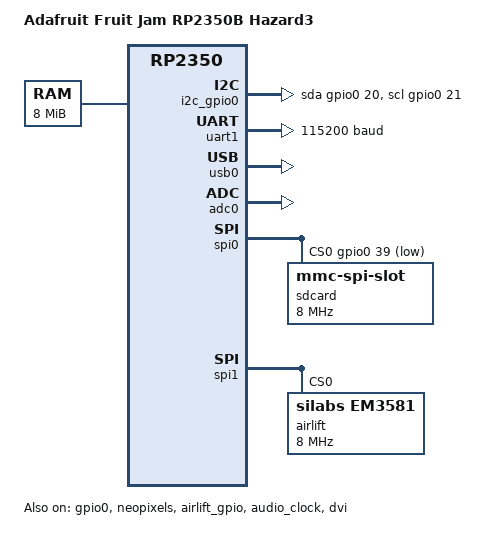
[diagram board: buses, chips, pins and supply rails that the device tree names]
/dts-v1/;

/ {
	#address-cells = <1>;
	#size-cells = <1>;
	compatible = "adafruit,fruit-jam-rp2350", "raspberrypi,rp2350", "riscv-minimal-nommu";
	model = "Adafruit Fruit Jam RP2350B Hazard3";

	aliases {
		serial0 = &uart1;
		i2c0 = &i2c_gpio0;
		spi0 = &spi1; /* Preserve AirLift as /dev/spidev0.0. */
		spi1 = &spi0;
	};

	chosen {
		stdout-path = "serial0:115200n8";
		bootargs = "earlycon=pl011,mmio32,0x40078000 console=ttyAMA0 console=ttyGS0 root=mtd:cramfs rootfstype=cramfs ro";
	};

	clk_sys: clk-sys {
		compatible = "fixed-clock";
		#clock-cells = <0>;
		clock-frequency = <150000000>;
	};

	flash@10000000 {
		compatible = "phram"; /* XIP flash mapped into physical address space */
		reg = <0x10000000 0x1000000>; /* 16 MiB QSPI flash */

		partitions {
			#address-cells = <1>;
			#size-cells = <1>;
			compatible = "fixed-partitions";

			partition@600000 {
				label = "cramfs";
				reg = <0x600000 0xa00000>; /* rootfs.cramfs at 6 MiB, up to end of 16 MiB flash */
				read-only;
			};
		};
	};

	fruitjam_pins: fruitjam-pins {
		compatible = "adafruit,fruit-jam-rp2350-pinmap";
		adafruit,button-gpios = <0 4 5>;
		adafruit,red-led-gpio = <29>;
		adafruit,neopixel-gpio = <32>;
		adafruit,usb-host-gpios = <1 2 11>;
		adafruit,peripheral-reset-gpio = <22>;
		adafruit,i2c-gpios = <20 21>;
		adafruit,i2s-gpios = <24 25 26 27 23>;
		adafruit,dvi-gpios = <12 13 14 15 16 17 18 19>;
		adafruit,sd-spi-gpios = <34 35 36 39 33>;
	};

	i2c_gpio0: i2c-gpio0 {
		compatible = "i2c-gpio";
		sda-gpios = <&gpio0 20 6>; /* active-high open-drain */
		scl-gpios = <&gpio0 21 6>; /* active-high open-drain */
		i2c-gpio,delay-us = <5>; /* ~100 kHz */
		#address-cells = <1>;
		#size-cells = <0>;
		status = "okay";
	};

	memory@11000000 {
		device_type = "memory";
		reg = <0x11000000 0x800000>; /* 8 MiB external PSRAM */
	};

	cpus {
		#address-cells = <1>;
		#size-cells = <0>;
		timebase-frequency = <1000000>;

		cpu0: cpu@0 {
			reg = <0>;
			device_type = "cpu";
			compatible = "riscv";
			riscv,isa = "rv32ima";
			riscv,isa-base = "rv32i";
			riscv,isa-extensions = "i", "m", "a";
			mmu-type = "riscv,none";
			status = "okay";

			cpu0_intc: interrupt-controller {
				#interrupt-cells = <1>;
				#address-cells = <1>;
				interrupt-controller;
				compatible = "riscv,cpu-intc";
			};
		};
	};

	soc {
		#address-cells = <1>;
		#size-cells = <1>;
		compatible = "simple-bus";
		ranges;

		/* Fruit Jam's labeled TX/RX header pins are UART1 on GPIO8/GPIO9. */
		uart1: serial@40078000 {
			compatible = "arm,sbsa-uart";
			current-speed = <115200>;
			interrupt-parent = <&plic0>;
			interrupts = <34>;
			reg = <0x40078000 0x100>;
			status = "okay";
		};

		usb0: usb@50100000 {
			compatible = "raspberrypi,rp2350-usb", "raspberrypi,rp2040-usb";
			reg = <0x50100000 0x1000>,
			      <0x50110000 0x118>,
			      <0x40020000 0x00c>;
			reg-names = "dpram", "regs", "resets";
			interrupt-parent = <&plic0>;
			interrupts = <14>;
			status = "okay";
		};

		gpio0: gpio@d0000000 {
			compatible = "raspberrypi,rp2350-sio-gpio";
			reg = <0xd0000000 0x1000>,
			      <0x40028000 0x1000>,
			      <0x40038000 0x1000>;
			reg-names = "sio", "io-bank0", "pads-bank0";
			gpio-controller;
			#gpio-cells = <2>;
			ngpios = <46>; /* GPIO47 is PSRAM CS1 and must not be exported. */
			status = "okay";
		};

		adc0: adc@400a0000 {
			compatible = "adafruit,fruit-jam-rp2350-adc";
			reg = <0x400a0000 0x100>,
			      <0x40020000 0x00c>,
			      <0x40028000 0x200>,
			      <0x40038000 0x100>;
			reg-names = "adc", "resets", "io-bank0", "pads-bank0";
			raspberrypi,adc-base-gpio = <40>;
			status = "okay";
		};

			neopixels: neopixels@50200000 {
				compatible = "adafruit,fruit-jam-rp2350-neopixel";
				reg = <0x50200000 0x1000>,
			      <0x40020000 0x00c>,
			      <0x40028000 0x200>,
			      <0x40038000 0x100>;
			reg-names = "pio", "resets", "io-bank0", "pads-bank0";
			raspberrypi,pio = <0>;
			raspberrypi,sm = <0>;
			raspberrypi,gpio = <32>;
			raspberrypi,gpio-base = <16>;
			raspberrypi,num-leds = <5>;
			raspberrypi,clk-sys-hz = <150000000>;
				status = "okay";
			};

			airlift_gpio: airlift-gpio@40028000 {
				compatible = "adafruit,fruit-jam-rp2350-airlift-gpio";
				reg = <0xd0000000 0x1000>,
				      <0x40028000 0x1000>,
				      <0x40038000 0x1000>;
				reg-names = "sio", "io-bank0", "pads-bank0";
				status = "okay";
			};

			audio_clock: audio-clock@50300000 {
				compatible = "adafruit,fruit-jam-rp2350-audio-clock";
				reg = <0x50300000 0x1000>,
				      <0x40020000 0x00c>,
				      <0x40028000 0x200>,
				      <0x40038000 0x100>;
				reg-names = "pio", "resets", "io-bank0", "pads-bank0";
				raspberrypi,pio = <1>;
				raspberrypi,sm = <1>;
				raspberrypi,mclk-sm = <0>;
				raspberrypi,din-gpio = <24>;
				raspberrypi,mclk-gpio = <25>;
				raspberrypi,bclk-gpio = <26>;
				raspberrypi,ws-gpio = <27>;
				raspberrypi,gpio-base = <16>;
				raspberrypi,clk-sys-hz = <150000000>;
				raspberrypi,mclk-hz = <15000000>;
				status = "okay";
			};

			dvi: dvi@400c0000 {
				compatible = "adafruit,fruit-jam-rp2350-dvi";
				reg = <0x400c0000 0x100>,
				      <0x50600000 0x100>,
				      <0x50000000 0x1000>,
				      <0x40020000 0x00c>,
				      <0x40028000 0x200>,
				      <0x40038000 0x100>,
				      <0x40068000 0x100>,
				      <0x40010000 0x100>;
				reg-names = "hstx-ctrl", "hstx-fifo", "dma",
					    "resets", "io-bank0", "pads-bank0",
					    "busctrl", "clocks";
				interrupt-parent = <&plic0>;
				interrupts = <10>;
				status = "okay";
			};

			spi0: spi@40080000 {
				compatible = "arm,pl022", "arm,primecell";
				arm,primecell-periphid = <0x00041022>;
				reg = <0x40080000 0x1000>;
				interrupt-parent = <&plic0>;
				interrupts = <31>;
				clocks = <&clk_sys>, <&clk_sys>;
				clock-names = "sspclk", "apb_pclk";
				#address-cells = <1>;
				#size-cells = <0>;
				num-cs = <1>;
				cs-gpios = <&gpio0 39 1>;
				status = "okay";

				sdcard@0 {
					compatible = "mmc-spi-slot";
					reg = <0>;
					spi-max-frequency = <8000000>;
					broken-cd;
					disable-wp;
				};
			};

			spi1: spi@40088000 {
				compatible = "arm,pl022", "arm,primecell";
				arm,primecell-periphid = <0x00041022>;
				reg = <0x40088000 0x1000>;
				interrupt-parent = <&plic0>;
				interrupts = <32>;
				clocks = <&clk_sys>, <&clk_sys>;
				clock-names = "sspclk", "apb_pclk";
				#address-cells = <1>;
				#size-cells = <0>;
				status = "okay";

				airlift@0 {
					compatible = "silabs,em3581";
					reg = <0>;
					spi-max-frequency = <8000000>;
				};
			};

			plic0: interrupt-controller@0 {
				reg = <0x0 0x0>;
				interrupts-extended = <&cpu0_intc 11>;
			interrupt-controller;
			compatible = "generic,simple-intc";
			#address-cells = <0x00>;
			#interrupt-cells = <0x01>;
		};

		clint: clint@d0000000 {
			interrupts-extended = <&cpu0_intc 3>,
					      <&cpu0_intc 7>;
			reg = <0xd0000000 0x400>;
			compatible = "riscv,clint0";
		};
	};
};
